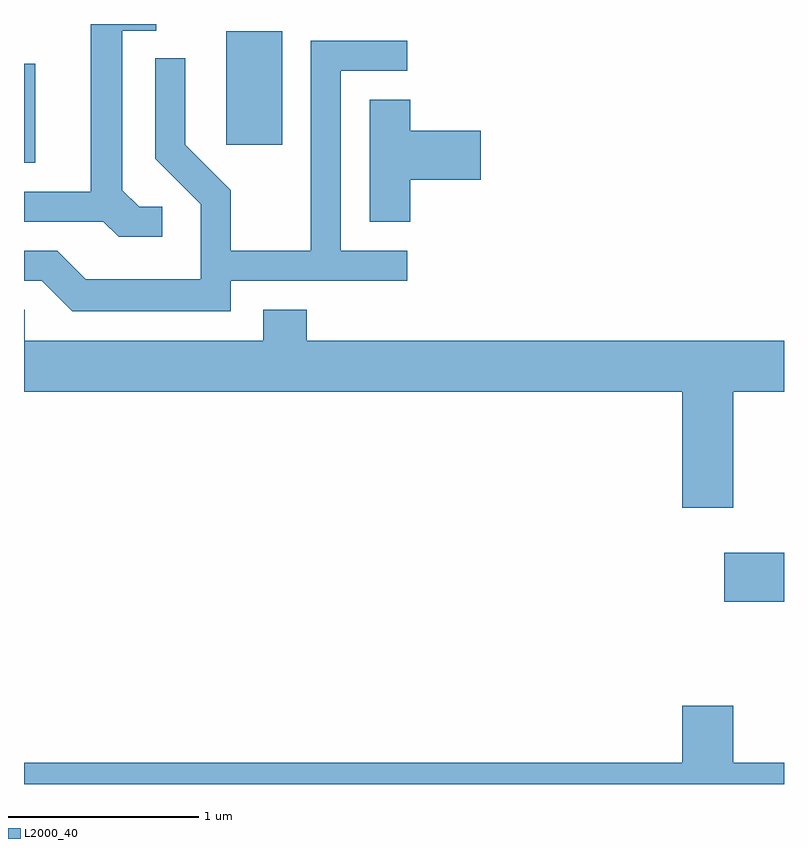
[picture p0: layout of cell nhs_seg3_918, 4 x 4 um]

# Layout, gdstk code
import gdstk
lib = gdstk.Library(unit=1e-6, precision=1e-09)
def R(c, l, rs):  # rectangles x0, y0, x1, y1
    for r in rs: c.add(gdstk.rectangle(r[:2], r[2:], *l))
def P(c, l, *ps):  # polygons
    for p in ps: c.add(gdstk.Polygon(p, *l))
L2000_40 = (2000, 40)

nhs_seg3_918 = lib.new_cell('nhs_seg3_918')
R(nhs_seg3_918, L2000_40, [(215.296,1184.851,215.611,1185.109), (211.611,1187.161,211.669,1187.684), (212.676,1187.256,212.969,1187.854)])
P(nhs_seg3_918, L2000_40, [(212.338,1186.929),(212.217,1186.929),(212.129,1187.017),(212.129,1187.856),(212.308,1187.856),(212.308,1187.892),(211.961,1187.892),(211.961,1187.009),(211.611,1187.009),(211.611,1186.851),(212.029,1186.851),(212.109,1186.771),(212.338,1186.771)],
  [(212.699,1186.541),(213.628,1186.541),(213.628,1186.699),(213.279,1186.699),(213.279,1187.646),(213.628,1187.646),(213.628,1187.804),(213.121,1187.804),(213.121,1186.699),(212.699,1186.699),(212.699,1187.017),(212.459,1187.257),(212.459,1187.713),(212.301,1187.713),(212.301,1187.184),(212.541,1186.944),(212.541,1186.549),(211.937,1186.549),(211.787,1186.699),(211.611,1186.699),(211.611,1186.541),(211.704,1186.541),(211.864,1186.381),(212.699,1186.381)],
  [(213.644,1187.071),(214.014,1187.071),(214.014,1187.329),(213.644,1187.329),(213.644,1187.494),(213.431,1187.494),(213.431,1186.851),(213.644,1186.851)],
  [(215.344,1185.956),(215.611,1185.956),(215.611,1186.224),(213.099,1186.224),(213.099,1186.389),(212.871,1186.389),(212.871,1186.224),(211.614,1186.224),(211.614,1186.389),(211.611,1186.389),(211.611,1185.956),(215.076,1185.956),(215.076,1185.346),(215.344,1185.346)],
  [(215.611,1184.004),(215.344,1184.004),(215.344,1184.304),(215.076,1184.304),(215.076,1184.004),(211.611,1184.004),(211.611,1183.892),(215.611,1183.892)])

lib.write_gds('nhs_seg3_918.gds')
